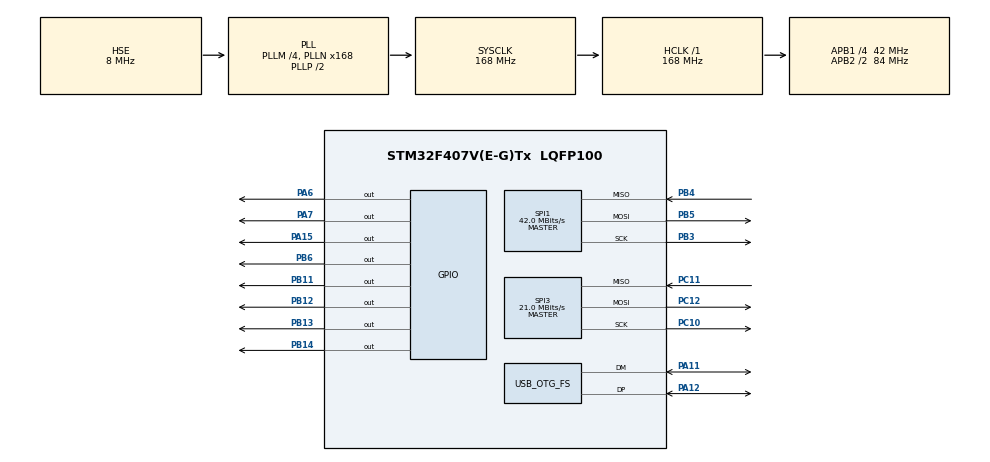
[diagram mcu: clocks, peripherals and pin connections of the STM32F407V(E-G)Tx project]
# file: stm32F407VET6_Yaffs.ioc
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Dma.Request0=SPI3_RX
Dma.Request1=SPI3_TX
Dma.Request2=SPI1_RX
Dma.Request3=SPI1_TX
Dma.SPI1_RX.2.Direction=DMA_PERIPH_TO_MEMORY
Dma.SPI1_RX.2.FIFOMode=DMA_FIFOMODE_DISABLE
Dma.SPI1_RX.2.Instance=DMA2_Stream0
Dma.SPI1_RX.2.MemDataAlignment=DMA_MDATAALIGN_BYTE
Dma.SPI1_RX.2.MemInc=DMA_MINC_ENABLE
Dma.SPI1_RX.2.Mode=DMA_NORMAL
Dma.SPI1_RX.2.PeriphDataAlignment=DMA_PDATAALIGN_BYTE
Dma.SPI1_RX.2.PeriphInc=DMA_PINC_DISABLE
Dma.SPI1_RX.2.Priority=DMA_PRIORITY_LOW
Dma.SPI1_TX.3.Direction=DMA_MEMORY_TO_PERIPH
Dma.SPI1_TX.3.FIFOMode=DMA_FIFOMODE_DISABLE
Dma.SPI1_TX.3.Instance=DMA2_Stream3
Dma.SPI1_TX.3.MemDataAlignment=DMA_MDATAALIGN_BYTE
Dma.SPI1_TX.3.MemInc=DMA_MINC_ENABLE
Dma.SPI1_TX.3.Mode=DMA_NORMAL
Dma.SPI1_TX.3.PeriphDataAlignment=DMA_PDATAALIGN_BYTE
Dma.SPI1_TX.3.PeriphInc=DMA_PINC_DISABLE
Dma.SPI1_TX.3.Priority=DMA_PRIORITY_LOW
Dma.SPI3_RX.0.Direction=DMA_PERIPH_TO_MEMORY
Dma.SPI3_RX.0.FIFOMode=DMA_FIFOMODE_DISABLE
Dma.SPI3_RX.0.Instance=DMA1_Stream0
Dma.SPI3_RX.0.MemDataAlignment=DMA_MDATAALIGN_BYTE
Dma.SPI3_RX.0.MemInc=DMA_MINC_ENABLE
Dma.SPI3_RX.0.Mode=DMA_NORMAL
Dma.SPI3_RX.0.PeriphDataAlignment=DMA_PDATAALIGN_BYTE
Dma.SPI3_RX.0.PeriphInc=DMA_PINC_DISABLE
Dma.SPI3_RX.0.Priority=DMA_PRIORITY_LOW
Dma.SPI3_TX.1.Direction=DMA_MEMORY_TO_PERIPH
Dma.SPI3_TX.1.FIFOMode=DMA_FIFOMODE_DISABLE
Dma.SPI3_TX.1.Instance=DMA1_Stream5
Dma.SPI3_TX.1.MemDataAlignment=DMA_MDATAALIGN_BYTE
Dma.SPI3_TX.1.MemInc=DMA_MINC_ENABLE
Dma.SPI3_TX.1.Mode=DMA_NORMAL
Dma.SPI3_TX.1.PeriphDataAlignment=DMA_PDATAALIGN_BYTE
Dma.SPI3_TX.1.PeriphInc=DMA_PINC_DISABLE
Dma.SPI3_TX.1.Priority=DMA_PRIORITY_LOW
Mcu.Family=STM32F4
Mcu.Name=STM32F407V(E-G)Tx
Mcu.Package=LQFP100
NVIC.DMA1_Stream0_IRQn=true\:0\:0\:false\:false\:true\:false\:true
NVIC.DMA1_Stream5_IRQn=true\:0\:0\:false\:false\:true\:false\:true
NVIC.DMA2_Stream0_IRQn=true\:0\:0\:false\:false\:true\:false\:true
NVIC.DMA2_Stream3_IRQn=true\:0\:0\:false\:false\:true\:false\:true
NVIC.OTG_FS_IRQn=true\:0\:0\:false\:false\:true\:false\:true
NVIC.PriorityGroup=NVIC_PRIORITYGROUP_4
NVIC.SPI1_IRQn=true\:0\:0\:false\:false\:true\:true\:true
NVIC.SPI3_IRQn=true\:0\:0\:false\:false\:true\:true\:true
PA11.Mode=Device_Only
PA11.Signal=USB_OTG_FS_DM
PA12.Mode=Device_Only
PA12.Signal=USB_OTG_FS_DP
PA15.GPIO_Speed=GPIO_SPEED_FREQ_HIGH
PA15.PinState=GPIO_PIN_SET
PA15.Signal=GPIO_Output
PA6.Signal=GPIO_Output
PA7.Signal=GPIO_Output
PB11.Signal=GPIO_Output
PB12.Signal=GPIO_Output
PB13.Signal=GPIO_Output
PB14.Signal=GPIO_Output
PB3.Mode=Full_Duplex_Master
PB3.Signal=SPI1_SCK
PB4.Mode=Full_Duplex_Master
PB4.Signal=SPI1_MISO
PB5.Mode=Full_Duplex_Master
PB5.Signal=SPI1_MOSI
PB6.GPIO_Speed=GPIO_SPEED_FREQ_HIGH
PB6.PinState=GPIO_PIN_SET
PB6.Signal=GPIO_Output
PC10.Mode=Full_Duplex_Master
PC10.Signal=SPI3_SCK
PC11.Mode=Full_Duplex_Master
PC11.Signal=SPI3_MISO
PC12.Mode=Full_Duplex_Master
PC12.Signal=SPI3_MOSI
PH0-OSC_IN.Mode=HSE-External-Oscillator
PH0-OSC_IN.Signal=RCC_OSC_IN
PH1-OSC_OUT.Mode=HSE-External-Oscillator
PH1-OSC_OUT.Signal=RCC_OSC_OUT
ProjectManager.HeapSize=0x200
ProjectManager.StackSize=0x400
ProjectManager.TargetToolchain=STM32CubeIDE
RCC.48MHZClocksFreq_Value=48000000
RCC.AHBFreq_Value=168000000
RCC.APB1CLKDivider=RCC_HCLK_DIV4
RCC.APB1Freq_Value=42000000
RCC.APB1TimFreq_Value=84000000
RCC.APB2CLKDivider=RCC_HCLK_DIV2
RCC.APB2Freq_Value=84000000
RCC.APB2TimFreq_Value=168000000
RCC.CortexFreq_Value=168000000
RCC.HCLKFreq_Value=168000000
RCC.HSE_VALUE=8000000
RCC.HSI_VALUE=16000000
RCC.LSE_VALUE=32768
RCC.PLLM=4
RCC.PLLN=168
RCC.PLLQ=7
RCC.SYSCLKFreq_VALUE=168000000
RCC.SYSCLKSource=RCC_SYSCLKSOURCE_PLLCLK
RCC.VCOOutputFreq_Value=336000000
SPI1.CalculateBaudRate=42.0 MBits/s
SPI1.Direction=SPI_DIRECTION_2LINES
SPI1.Mode=SPI_MODE_MASTER
SPI1.VirtualType=VM_MASTER
SPI3.BaudRatePrescaler=SPI_BAUDRATEPRESCALER_2
SPI3.CalculateBaudRate=21.0 MBits/s
SPI3.Direction=SPI_DIRECTION_2LINES
SPI3.Mode=SPI_MODE_MASTER
SPI3.VirtualType=VM_MASTER
USB_DEVICE.APP_RX_DATA_SIZE-CDC_FS=512
USB_DEVICE.APP_TX_DATA_SIZE-CDC_FS=512
USB_DEVICE.CLASS_NAME_FS=CDC
USB_DEVICE.MANUFACTURER_STRING-CDC_FS=Charles Manning
USB_DEVICE.PID_CDC_FS=40967
USB_DEVICE.PRODUCT_STRING_CDC_FS=Yaffs Tester
USB_DEVICE.USBD_MAX_STR_DESC_SIZ-CDC_FS=256
USB_DEVICE.USBD_SELF_POWERED-CDC_FS=1
USB_DEVICE.VirtualMode-CDC_FS=Cdc
USB_DEVICE.VirtualModeFS=Cdc_FS
USB_OTG_FS.VirtualMode=Device_Only
VP_USB_DEVICE_VS_USB_DEVICE_CDC_FS.Mode=CDC_FS
board=custom

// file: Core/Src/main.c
/* USER CODE BEGIN Header */
/**
  ******************************************************************************
  * @file           : main.c
  * @brief          : Main program body
  ******************************************************************************
  * @attention
  *
  * <h2><center>&copy; Copyright (c) 2020 STMicroelectronics.
  * All rights reserved.</center></h2>
  *
  * This software component is licensed by ST under BSD 3-Clause license,
  * the "License"; You may not use this file except in compliance with the
  * License. You may obtain a copy of the License at:
  *                        opensource.org/licenses/BSD-3-Clause
  *
  ******************************************************************************
  */
/* USER CODE END Header */

#include "main.h"
#include "dma.h"
#include "spi.h"
#include "usb_device.h"
#include "gpio.h"

/* USER CODE BEGIN Includes */
#include "cdc_print_sink.h"
#include "spi_nand.h"
#include "yaffsfs.h"
void yaffs_sizes(void);
void yaffs_test(void);

/* USER CODE END Includes */

void SystemClock_Config(void);

/* USER CODE BEGIN 0 */
unsigned n_ticks;
unsigned n_loops;
/* USER CODE END 0 */

int main(void)
{
  /* USER CODE BEGIN 1 */
  uint32_t pr_count;
  uint32_t last_pr_count = 0;
  /* USER CODE END 1 */

  /* MCU Configuration--------------------------------------------------------*/

  /* Reset of all peripherals, Initializes the Flash interface and the Systick. */
  HAL_Init();

  /* Configure the system clock */
  SystemClock_Config();

  /* Initialize all configured peripherals */
  MX_GPIO_Init();
  MX_DMA_Init();
  MX_USB_DEVICE_Init();
  MX_SPI3_Init();
  MX_SPI1_Init();
  /* USER CODE BEGIN 2 */

  /* Wait for USB CDC to get going properly. */
  HAL_Delay(2000);

  printf("\n\nStarting " __DATE__ " " __TIME__"\n");

  //yaffs_sizes();
  yaffs_test();
 // spi_nand_test();

  /* USER CODE END 2 */

  /* Infinite loop */
  /* USER CODE BEGIN WHILE */
  while (1)
  {
	  n_loops++;
    /* USER CODE END WHILE */

    /* USER CODE BEGIN 3 */

	pr_count = n_ticks / 10000;

	if (pr_count != last_pr_count) {
		//printf("The pr_count value is %u\n", (unsigned)pr_count);
	}
	last_pr_count = pr_count;
  }
  /* USER CODE END 3 */
}

void SystemClock_Config(void)
{
  RCC_OscInitTypeDef RCC_OscInitStruct = {0};
  RCC_ClkInitTypeDef RCC_ClkInitStruct = {0};

  /** Configure the main internal regulator output voltage
  */
  __HAL_RCC_PWR_CLK_ENABLE();
  __HAL_PWR_VOLTAGESCALING_CONFIG(PWR_REGULATOR_VOLTAGE_SCALE1);
  /** Initializes the CPU, AHB and APB busses clocks
  */
  RCC_OscInitStruct.OscillatorType = RCC_OSCILLATORTYPE_HSE;
  RCC_OscInitStruct.HSEState = RCC_HSE_ON;
  RCC_OscInitStruct.PLL.PLLState = RCC_PLL_ON;
  RCC_OscInitStruct.PLL.PLLSource = RCC_PLLSOURCE_HSE;
  RCC_OscInitStruct.PLL.PLLM = 4;
  RCC_OscInitStruct.PLL.PLLN = 168;
  RCC_OscInitStruct.PLL.PLLP = RCC_PLLP_DIV2;
  RCC_OscInitStruct.PLL.PLLQ = 7;
  if (HAL_RCC_OscConfig(&RCC_OscInitStruct) != HAL_OK)
  {
    Error_Handler();
  }
  /** Initializes the CPU, AHB and APB busses clocks
  */
  RCC_ClkInitStruct.ClockType = RCC_CLOCKTYPE_HCLK|RCC_CLOCKTYPE_SYSCLK
                              |RCC_CLOCKTYPE_PCLK1|RCC_CLOCKTYPE_PCLK2;
  RCC_ClkInitStruct.SYSCLKSource = RCC_SYSCLKSOURCE_PLLCLK;
  RCC_ClkInitStruct.AHBCLKDivider = RCC_SYSCLK_DIV1;
  RCC_ClkInitStruct.APB1CLKDivider = RCC_HCLK_DIV4;
  RCC_ClkInitStruct.APB2CLKDivider = RCC_HCLK_DIV2;

  if (HAL_RCC_ClockConfig(&RCC_ClkInitStruct, FLASH_LATENCY_5) != HAL_OK)
  {
    Error_Handler();
  }
}

/* USER CODE BEGIN 4 */

void systick_hook(void)
{
	n_ticks++;

	cdc_print_sink_tick();

	gpio_LED0((n_ticks >>8) & 1);
	gpio_LED1((n_ticks >>9) & 1);
}
/* USER CODE END 4 */

void Error_Handler(void)
{
}

/************************ (C) COPYRIGHT STMicroelectronics *****END OF FILE****/
